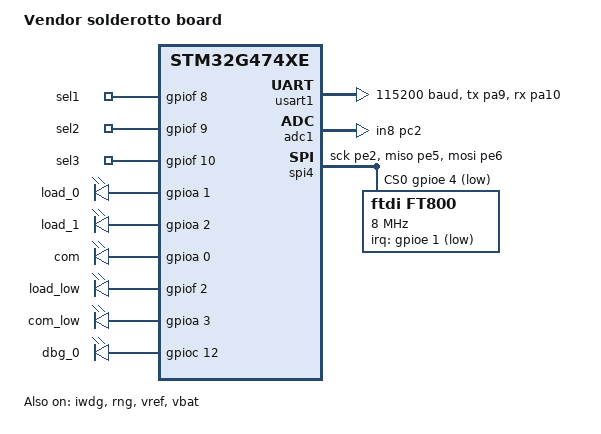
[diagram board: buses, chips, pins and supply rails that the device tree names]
/*
 *
 * SPDX-License-Identifier: Apache-2.0
 */

/dts-v1/;
#include <st/g4/stm32g474Xe.dtsi>
#include <st/g4/stm32g474q(b-c-e)tx-pinctrl.dtsi>
#include <zephyr/dt-bindings/input/input-event-codes.h>

/ {
	model = "Vendor solderotto board";
	compatible = "st,solderotto";

	chosen {
		zephyr,console = &usart1;
		zephyr,shell-uart = &usart1;
		zephyr,sram = &sram0;
		zephyr,flash = &flash0;
	};

	channel_out {
		compatible = "gpio-leds";
		sel1: sel_1 {
			gpios = <&gpiof 8 GPIO_ACTIVE_HIGH>;
		};
		sel2: sel_2 {
			gpios = <&gpiof 9 GPIO_ACTIVE_HIGH>;
		};
		sel3: sel_3 {
			gpios = <&gpiof 10 GPIO_ACTIVE_HIGH>;
		};
		load_0: load0 {
			gpios = <&gpioa 1 GPIO_ACTIVE_HIGH>;
		};
		load_1: load1 {
			gpios = <&gpioa 2 GPIO_ACTIVE_HIGH>;
		};
		com: com {
			gpios = <&gpioa 0 GPIO_ACTIVE_HIGH>;
		};
		load_low: low_load {
			gpios = <&gpiof 2 GPIO_ACTIVE_HIGH>;
		};
		com_low: low_com {
			gpios = <&gpioa 3 GPIO_ACTIVE_HIGH>;
		};
		dbg_0: dbg_0 {
			gpios = <&gpioc 12 (GPIO_OPEN_DRAIN)>;
		};
	};

	aliases {
		volt-sensor0 = &vref;
		volt-sensor1 = &vbat;
//		ch0-sel1 = &sel1;
//		ch0-sel2 = &sel2;
//		ch0-sel3 = &sel3;
//		ch0-load0 = &load_0;
//		ch0-load1 = &load_1;
//		ch0-com = &com;
//		ch0-low-load = &load_low;
//		ch0-low-com = &com_low;
		dbg-0 = &dbg_0;
	};

//	soc {
//		quadspi: quadspi@a0001000 {
//			compatible = "st,stm32-qspi";
//			#address-cells = <1>;
//			#size-cells = <0>;
//			reg = <0xa0001000 0x400>;
//			interrupts = <71 0>;
//			clocks = <&rcc STM32_CLOCK_BUS_AHB3 0x00000100>;
//			status = "disabled";
//		};
//	};
};

&dma2 {
	status = "okay";
};

//&quadspi {
//	pinctrl-0 = <&quadspi1_clk_pe10 &quadspi1_bk1_ncs_pe11
//				 &quadspi1_bk1_io3_pe15 &quadspi1_bk1_io2_pe14
//				 &quadspi1_bk1_io1_pe13 &quadspi1_bk1_io0_pe12>;
//	pinctrl-names = "default";
//
//	status = "okay";
//
//	mx25r6435f: qspi-nor-flash@90000000 {
//		compatible = "st,stm32-qspi-nor";
//		reg = <0x90000000 DT_SIZE_M(8)>; /* 64 Mbits */
//		qspi-max-frequency = <80000000>;
//		reset-gpios = <&gpiod 3 GPIO_ACTIVE_LOW>;
//		reset-gpios-duration = <1>;
//		spi-bus-width = <4>;
//		status = "okay";
//
//		foobar: partitions {
//			compatible = "fixed-partitions";
//			#address-cells = <1>;
//			#size-cells = <1>;
//
//			partition@0 {
//				label = "nor";
//				reg = <0x00000000 DT_SIZE_M(4)>;
//			};
//		};
//	};
//};

&clk_lsi {
	status = "okay";
};

&clk_hsi {
	status = "okay";
};

&clk_hsi48 {
	status = "okay";
};

&pll {
	div-m = <1>;
	mul-n = <20>;
	div-p = <2>;
	div-q = <8>;
	div-r = <2>;
	clocks = <&clk_hsi>;
	status = "okay";
};

&rcc {
	clocks = <&pll>;
	clock-frequency = <DT_FREQ_M(160)>;
	ahb-prescaler = <1>;
	apb1-prescaler = <1>;
	apb2-prescaler = <1>;
};

&usart1 {
	pinctrl-0 = <&usart1_tx_pa9 &usart1_rx_pa10>;
	pinctrl-names = "default";
	current-speed = <115200>;
	stop-bits = "1";
	data-bits = <8>;
	status = "okay";
};


//&flash0 {
//	partitions {
//		compatible = "fixed-partitions";
//		#address-cells = <1>;
//		#size-cells = <1>;
//
//		boot_partition: partition@0 {
//			label = "mcuboot";
//			reg = <0x00000000 DT_SIZE_K(34)>;
//		};
//		slot0_partition: partition@8800 {
//			label = "image-0";
//			reg = <0x00008800 DT_SIZE_K(234)>;
//		};
//		slot1_partition: partition@44800 {
//			label = "image-1";
//			reg = <0x00044800 DT_SIZE_K(234)>;
//		};
//		/* Set 10Kb of storage at the end of the 512Kb of flash */
//		storage_partition: partition@7f000 {
//			label = "storage";
//			reg = <0x0007f000 DT_SIZE_K(10)>;
//		};
//	};
//};

&iwdg {
	status = "okay";
};

&rng {
	status = "okay";
};

&adc1 {
	pinctrl-0 = <&adc1_in8_pc2>;
	pinctrl-names = "default";
	st,adc-clock-source = <SYNC>;
	st,adc-prescaler = <4>;
	status = "okay";
};

&vref {
	status = "okay";
};

&vbat {
	status = "okay";
};

&spi4 {
	pinctrl-0 = <&spi4_sck_pe2 &spi4_miso_pe5 &spi4_mosi_pe6>;
	pinctrl-names = "default";

	cs-gpios = <&gpioe 4 (GPIO_PULL_UP | GPIO_ACTIVE_LOW)>;

	status = "okay";

	ft800: ft800@0 {
		compatible = "ftdi,ft800";
		reg = <0x0>;
		spi-max-frequency = <8000000>;
		/*  D2 */
		irq-gpios = <&gpioe 1 GPIO_ACTIVE_LOW>;

		pclk = <1>;
		pclk_pol = <1>;
		cspread = <0>;
		swizzle = <0>;
		vsize = <480>;
		voffset = <8>;
		vcycle = <496>;
		vsync0 = <0>;
		vsync1 = <4>;
		hsize = <480>;
		hoffset = <8>;
		hcycle = <816>;
		hsync0 = <0>;
		hsync1 = <4>;

		status = "okay";
	};
};

//ft800: ft800@0 {
//	compatible = "ftdi,ft800";
//	reg = <0x0>;
//	spi-max-frequency = <8000000>;
//	/*  D2 */
//	irq-gpios = <&gpioe 1 GPIO_ACTIVE_LOW>;
//
//	pclk = <5>;
//	pclk_pol = <1>;
//	cspread = <1>;
//	swizzle = <0>;
//	vsize = <272>;
//	voffset = <12>;
//	vcycle = <292>;
//	vsync0 = <0>;
//	vsync1 = <10>;
//	hsize = <480>;
//	hoffset = <43>;
//	hcycle = <548>;
//	hsync0 = <0>;
//	hsync1 = <41>;
//
//	status = "okay";
//};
